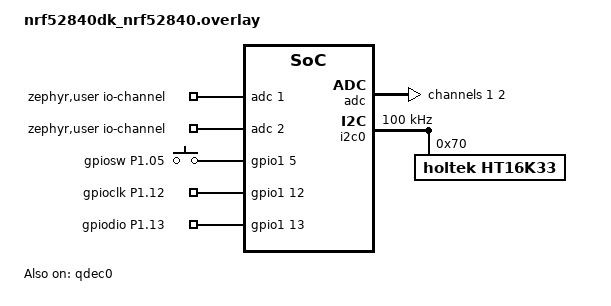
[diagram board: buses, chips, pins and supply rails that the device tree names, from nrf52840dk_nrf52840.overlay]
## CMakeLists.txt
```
cmake_minimum_required(VERSION 3.20.0)
find_package(Zephyr REQUIRED HINTS $ENV{ZEPHYR_BASE})

project(joystick_example)

target_sources(app PRIVATE src/main.c src/led.c)

FILE(GLOB app_sources src/*.c)
target_sources(app PRIVATE ${app_sources})
```

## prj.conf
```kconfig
CONFIG_ADC=y
# CONFIG_ADC_ASYNC=y

CONFIG_LOG=y
CONFIG_I2C=y
CONFIG_LED=y
CONFIG_KSCAN=y
CONFIG_KSCAN_INIT_PRIORITY=95
CONFIG_HT16K33_KEYSCAN=y



CONFIG_SENSOR=y
CONFIG_PRINTK=y

CONFIG_GPIO=y
```

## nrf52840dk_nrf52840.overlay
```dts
/ {
    zephyr,user {
        io-channels = <&adc 1>, <&adc 2>;
    };

    aliases {
        qdec0 = &qdec0;
        gpio-sw = &gpiosw;
        gpio-clk = &gpioclk;
		gpio-dio = &gpiodio;
    };

    gpiocustom {
        status = "okay";
        compatible = "gpio-keys";
        gpiosw: gpiosw {
            gpios = <&gpio1 5 (GPIO_PULL_UP)>;
            label = "gpiosw P1.05";
        };

        gpioclk: gpioclk{
			gpios = <&gpio1 12 GPIO_ACTIVE_HIGH>;
			label = "gpioclk P1.12";
		};

		gpiodio: gpiodio{
			gpios = <&gpio1 13 GPIO_ACTIVE_HIGH>;
			label = "gpiodio P1.13";
		};
    };
};

&adc {
    #address-cells = <1>;
    #size-cells = <0>;

    channel@1 {
        reg = <1>;
        zephyr,gain = "ADC_GAIN_1";
        zephyr,reference = "ADC_REF_INTERNAL";
        zephyr,acquisition-time = <ADC_ACQ_TIME_DEFAULT>;
        zephyr,input-positive = <NRF_SAADC_AIN1>; /* P0.03 */
        zephyr,resolution = <10>;
        // zephyr,differential;
    };

    channel@2 {
        reg = <2>;
        zephyr,gain = "ADC_GAIN_1";
        zephyr,reference = "ADC_REF_INTERNAL";
        zephyr,acquisition-time = <ADC_ACQ_TIME_DEFAULT>;
        zephyr,input-positive = <NRF_SAADC_AIN2>; /* P0.04 */
        zephyr,resolution = <10>;
        // zephyr,differential;
    };
};

&pinctrl {
    qdec_pinctrl: qdec_pinctrl {
        group1 {
            psels = <NRF_PSEL(QDEC_A, 1, 4)>,   /* Arduino D3 */
                    <NRF_PSEL(QDEC_B, 1, 3)>;   /* Arduino D2 */
        };
    };
};

&qdec0 {
    status = "okay";
    pinctrl-0 = <&qdec_pinctrl>;
    pinctrl-names = "default";
    steps = <20>;
    led-pre = <500>;
};

&i2c0 {
    clock-frequency = <I2C_BITRATE_STANDARD>;

    ht16k33@70 {
        compatible = "holtek,ht16k33";
        reg = <0x70>;
        /* Uncomment to use IRQ instead of polling: */
        /* irq-gpios = <&gpio1 8 (GPIO_PULL_UP | GPIO_ACTIVE_LOW)>; */

        keyscan {
            compatible = "holtek,ht16k33-keyscan";
        };
    };
};

&spi3 {
	status = "disabled";
};
```

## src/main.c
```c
#include <inttypes.h>
#include <stddef.h>
#include <stdint.h>
#include <stdlib.h>
#include <stdbool.h>

#include <zephyr/device.h>
#include <zephyr/devicetree.h>
#include <zephyr/drivers/adc.h>
#include <zephyr/kernel.h>
#include <zephyr/sys/printk.h>
#include <zephyr/sys/util.h>

#include <zephyr/drivers/sensor.h>
#include <zephyr/drivers/gpio.h>

#include "led.h"
#include "batterydisplay.h"
#include "value.h"

#if !DT_NODE_EXISTS(DT_PATH(zephyr_user)) || \
   !DT_NODE_HAS_PROP(DT_PATH(zephyr_user), io_channels)
#error "No suitable devicetree overlay specified"
#endif

#define DT_SPEC_AND_COMMA(node_id, prop, idx) \
   ADC_DT_SPEC_GET_BY_IDX(node_id, idx),

/* Data of ADC io-channels specified in devicetree. */
static const struct adc_dt_spec adc_channels[] = {
   DT_FOREACH_PROP_ELEM(DT_PATH(zephyr_user), io_channels,
            DT_SPEC_AND_COMMA)
};


// add for joystick
int32_t preX = 0 , preY = 0;
static const int ADC_MAX = 1023;
// static const int ADC_MIN = 0;
static const int AXIS_DEVIATION = ADC_MAX / 2;
int32_t nowX = 0;
int32_t nowY = 0;

int start_index = 0;
int current_led_index = 0;
int cat_led_index = 55;
int previous_cat_led_index = 0;
int battery_level = 7;
int n = 10;
int *walls = NULL;
int walls_count = 0;


//rotary
#if !DT_NODE_EXISTS(DT_ALIAS(qdec0))
#error "Unsupported board: qdec0 devicetree alias is not defined"
#endif

#define SW_NODE DT_NODELABEL(gpiosw)
#if !DT_NODE_HAS_STATUS(SW_NODE, okay)
#error "Unsupported board: gpiosw devicetree alias is not defined or enabled"
#endif
static const struct gpio_dt_spec sw = GPIO_DT_SPEC_GET(SW_NODE, gpios);

static bool sw_led_flag = false;

static struct gpio_callback sw_cb_data;

void sw_callback(const struct device *dev, struct gpio_callback *cb, uint32_t pins)
{
   printk("SW pressed\n");
   sw_led_flag = !sw_led_flag;
}

// cat의 위치를 무작위로 초기화
void init_cat_position() {
    srand(k_uptime_get_32()); // 랜덤 시드 초기화
    int range = rand() % 2; // 0 또는 1의 무작위 수 생성

    if (range == 0) {
        cat_led_index = 52 + (rand() % 8); // 52~59 범위에서 무작위 선택
    } else {
        cat_led_index = 68 + (rand() % 8); // 68~75 범위에서 무작위 선택
    }
}

// 게임 상태를 초기화
void reset_game_state() {
    // Reset all relevant variables to their initial values
    start_index = 0;

    current_led_index = 0;
    init_cat_position(); // cat의 위치 초기화
    walls_count = 0; // user가 세운 벽의 개수 초기화
    if (walls != NULL) {
        free(walls);
        walls = NULL;
    }
    
    battery_level--;
    if(battery_level <= 0) {
        led_display_game_over();
        battery_level = 7;
        return;
   }

   led_init(start_index);
   add_wall(cat_led_index);
}

// cat이 가장자리에 닿으면(탈출하면)
void check_game_over(int index)
{
    if (index >= 0 && index <= 15) {
        printk("Game Over\n");
        k_sleep(K_MSEC(500));
      reset_game_state();
    } else if (index == 16 || index == 31 || index == 32 || index == 47 ||
               index == 48 || index == 63 || index == 64 || index == 79 ||
            index == 80 || index == 95 || index == 96 || 
            index == 111 ||(index >= 112 && index <= 127)) {
        printk("Game Over\n");
        k_sleep(K_MSEC(500));
      reset_game_state();
    }
}

/*
void move_cat() {
   remove_wall(cat_led_index);

   srand(k_uptime_get_32());
   int move_direction = rand() % 4; // 0부터 3까지의 무작위 수 생성

   if (move_direction == 0) {
      cat_led_index = led_on_right(cat_led_index);
   } else if(move_direction == 1) {
      cat_led_index = led_on_left(cat_led_index);
   } else if(move_direction == 2) {
      cat_led_index = led_on_up(cat_led_index);
   } else {
      cat_led_index = led_on_down(cat_led_index);
   }
   
   add_wall(cat_led_index);
   check_game_over(cat_led_index);
}
*/


// 다익스트라 알고리즘에 필요한 정의들
#define NUM_NODES 128
#define INF INT_MAX

int edges[NUM_NODES][NUM_NODES];
int dist[NUM_NODES];
int prev[NUM_NODES];
bool visited[NUM_NODES];

void init_graph() {
    for (int i = 0; i < NUM_NODES; i++) {
        for (int j = 0; j < NUM_NODES; j++) {
            edges[i][j] = INF;
        }
    }

    for (int i = 0; i < 128; i++) {
        if ((i + 1) % 16 != 0) edges[i][i + 1] = 1; // 오른쪽으로 이동 가능
        if (i % 16 != 0) edges[i][i - 1] = 1; // 왼쪽으로 이동 가능
        if (i + 16 < 128) edges[i][i + 16] = 1; // 아래로 이동 가능
        if (i - 16 >= 0) edges[i][i - 16] = 1; // 위로 이동 가능
    }

    for (int i = 0; i < walls_count; i++) {
        for (int j = 0; j < 128; j++) {
            edges[walls[i]][j] = INF;
            edges[j][walls[i]] = INF;
        }
    }
}

void dijkstra(int start) {
    for (int i = 0; i < NUM_NODES; i++) {
        dist[i] = INF;
        prev[i] = -1;
        visited[i] = false;
    }
    dist[start] = 0;

    for (int i = 0; i < NUM_NODES; i++) {
        int min_dist = INF;
        int u = -1;
        for (int j = 0; j < NUM_NODES; j++) {
            if (!visited[j] && dist[j] < min_dist) {
                min_dist = dist[j];
                u = j;
            }
        }

        if (u == -1) break;

        visited[u] = true;

        for (int v = 0; v < NUM_NODES; v++) {
            if (!visited[v] && edges[u][v] != INF && dist[u] + edges[u][v] < dist[v]) {
                dist[v] = dist[u] + edges[u][v];
                prev[v] = u;
            }
        }
    }
}

int get_next_move(int start, int end) {
    dijkstra(start);
    int u = end;
    while (prev[u] != start && prev[u] != -1) {
        u = prev[u];
    }
    return u;
}

void move_cat() {
    previous_cat_led_index = cat_led_index; // 이전 위치 저장

    remove_wall(cat_led_index);

    init_graph();

    int nearest_edge_index = -1;
    int min_distance = INF;

    // 가장자리 인덱스들
    int edge_indices[] = {0, 1, 2, 3, 4, 5, 6, 7, 8, 9, 10, 11, 12, 13, 14, 15, 
                          16, 31, 32, 47, 48, 63, 64, 79, 80, 95, 96, 111, 
                          112, 113, 114, 115, 116, 117, 118, 119, 120, 121, 122, 123, 124, 125, 126, 127};

    dijkstra(cat_led_index);

    for (int i = 0; i < sizeof(edge_indices)/sizeof(edge_indices[0]); i++) {
        if (dist[edge_indices[i]] < min_distance) {
            min_distance = dist[edge_indices[i]];
            nearest_edge_index = edge_indices[i];
        }
    }

    if (nearest_edge_index != -1) {
        int next_move = get_next_move(cat_led_index, nearest_edge_index);
        // 벽이 있는 위치로 이동하지 않도록 확인
        bool is_wall = false;
        for (int i = 0; i < walls_count; i++) {
            if (walls[i] == next_move) {
                is_wall = true;
                break;
            }
        }

        if (!is_wall) {
            cat_led_index = next_move;
        }
    }

    add_wall(cat_led_index);

    if (cat_led_index == previous_cat_led_index) {
        game_clear();
    } else {
        check_game_over(cat_led_index);
    }
}



void game_clear() {
    printk("Game Clear!\n");
    led_display_game_clear();
    k_sleep(K_MSEC(2000));
    battery_level = 7;
    start_index = 0;
    current_led_index = 0;
    init_cat_position(); // cat의 위치 초기화
    walls_count = 0; // user가 세운 벽의 개수 초기화
    if (walls != NULL) {
        free(walls);
        walls = NULL;
    }
}

bool is_wall_at(int index, int *walls, int walls_count) {
    for (int i = 0; i < walls_count; i++) {
        if (walls[i] == index) {
            return true;
        }
    }
    return false;
}

void display_rotary_led(int32_t rotary_val)
{
	if (rotary_val >30) { //오른쪽으로 회전
		led_off_without_walls(walls, walls_count);
		add_wall(current_led_index);
		move_cat(); // Move the cat to the right
		//cat_led_index = led_on_right(cat_led_index);
	} else if (rotary_val < -20) { //왼쪽으로 회전
        int random_wall_indices[2];
        for (int i = 0; i < 2; i++) {
            bool unique;
            do {
                unique = true;
                random_wall_indices[i] = rand() % 128; // 0부터 127 사이의 무작위 위치 선택
                for (int j = 0; j < i; j++) {
                    if (random_wall_indices[i] == random_wall_indices[j] || 
                        is_wall_at(random_wall_indices[i], walls, walls_count) ||
                        random_wall_indices[i] == cat_led_index) {
                        unique = false;
                        break;
                    }
                }
            } while (!unique);

            add_wall(random_wall_indices[i]);
        }
	}
}


bool isChange(void)
{
	if((nowX < (preX - 50)) || nowX > (preX+50)){
		preX = nowX;
		return true;
	}

	if((nowY < (preY - 50)) || nowY > (preY+50)){
		preY = nowY;
		return true;
	}
	return false;
}

void add_wall(int index)
{
   if (walls == NULL)
   {
      walls = (int *)malloc(n * sizeof(int));
   }
   if (walls_count >= n)
   {
      n *= 2;
      walls = (int *)realloc(walls, n * sizeof(int));
   }
   printk("%d", walls_count);
   walls[walls_count++] = index;
   led_off_without_walls(walls, walls_count);
}

void remove_wall(int index)
{
    // 벽이 존재하는지 확인
    if (walls != NULL && walls_count > 0) {
        // 벽을 찾아서 제거
        for (int i = 0; i < walls_count; i++) {
            if (walls[i] == index) {
                // 벽을 찾았으면 해당 위치의 LED를 끔
                led_off(led, index);
                // 벽을 제거하고 배열을 재정렬
                for (int j = i; j < walls_count - 1; j++) {
                    walls[j] = walls[j + 1];
                }
                // 벽 카운트를 감소시킴
                walls_count--;
                break;
            }
        }
    }
}

void process_joystick_input()
{
    uint16_t buf;
    int err;
    struct adc_sequence sequence = {
        .buffer = &buf,
        /* buffer size in bytes, not number of samples */
        .buffer_size = sizeof(buf),
    };
    
    while(1) {
        (void)adc_sequence_init_dt(&adc_channels[0], &sequence);
        err = adc_read(adc_channels[0].dev, &sequence);
        if (err < 0) {
            printk("Could not read ADC channel 0 (%d)\n", err);
            return;
        }

        nowX = (int32_t)buf;

        (void)adc_sequence_init_dt(&adc_channels[1], &sequence);
        err = adc_read(adc_channels[1].dev, &sequence);
        if (err < 0) {
            printk("Could not read ADC channel 1 (%d)\n", err);
            return;
        }

        nowY = (int32_t)buf;

        printk("Joy X: %" PRIu32 ", Joy Y: %" PRIu32 "\n", nowX, nowY);

        if (nowX >= 65500 || nowY >= 65500){
            printk("Out of Range\n");
            // return;
        }

        bool checkFlag = isChange();
        if(!checkFlag){
            printk("No Change\n");
            return;
        } 

        if (nowX == ADC_MAX && nowY == ADC_MAX){
            printk("Center\n");
        } else if ((nowX < AXIS_DEVIATION || nowX >= 65500) && nowY == ADC_MAX){ // 조이스틱 왼쪽으로
            led_off_without_walls(walls, walls_count);
            current_led_index = led_on_left(current_led_index);
            printk("Left\n");
        } else if (nowX > AXIS_DEVIATION && nowY == ADC_MAX){ // 조이스틱 오른쪽으로
            led_off_without_walls(walls, walls_count);
            current_led_index = led_on_right(current_led_index);
            //add_wall(current_led_index);
            printk("Right\n");
        } else if ((nowY >= 65500 || nowY < AXIS_DEVIATION) && nowX == ADC_MAX){ // 조이스틱 아래로
            led_off_without_walls(walls, walls_count);
            current_led_index = led_on_down(current_led_index);
            printk("Down\n");
		} else if (nowY > AXIS_DEVIATION && nowX == ADC_MAX){ // 조이스틱 위로
            led_off_without_walls(walls, walls_count);
            current_led_index = led_on_up(current_led_index);
            printk("Up\n");
        }

        k_sleep(K_MSEC(100));
    }
}

int main(void)
{
   init_cat_position();
   //rotary
   struct sensor_value val;
   int rc;
   const struct device *const dev = DEVICE_DT_GET(DT_ALIAS(qdec0));

   if (!device_is_ready(dev)) {
      printk("Qdec device is not ready\n");
      return 0;
   }

   if(!gpio_is_ready_dt(&sw)) {
      printk("SW GPIO is not ready\n");
      return 0;
   }

   int err = gpio_pin_configure_dt(&sw, GPIO_INPUT);
   if(err < 0){
      printk("Error configuring SW GPIO pin %d\n", err);
      return 0;
   }

   err = gpio_pin_interrupt_configure_dt(&sw, GPIO_INT_EDGE_RISING);
   if(err != 0){
      printk("Error configuring SW GPIO interrupt %d\n", err);
      return 0;
   }

   err = batterydisplay_intit();
   if(err != 0){
         printk("Error initializing battery display\n");
         return DK_ERR;
   }

   gpio_init_callback(&sw_cb_data, sw_callback, BIT(sw.pin));
   gpio_add_callback(sw.port, &sw_cb_data);

   printk("Quadrature decoder sensor test\n");
   
   // ADC 채널 설정
   for (size_t i = 0U; i < ARRAY_SIZE(adc_channels); i++) {
      if (!adc_is_ready_dt(&adc_channels[i])) {
         printk("ADC controller device %s not ready\n", adc_channels[i].dev->name);
         return 0;
      }

      err = adc_channel_setup_dt(&adc_channels[i]);
      if (err < 0) {
         printk("Could not setup channel #%d (%d)\n", i, err);
         return 0;
      }
   }

   add_wall(cat_led_index);
   led_init(start_index);

   while (1) {
      display_level(battery_level);

      rc = sensor_sample_fetch(dev);
      if (rc != 0) {
         printk("Failed to fetch sample (%d)\n", rc);
         return 0;
      }

      rc = sensor_channel_get(dev, SENSOR_CHAN_ROTATION, &val);
      if (rc != 0) {
         printk("Failed to get data (%d)\n", rc);
         return 0;
      }
      
      if(!sw_led_flag){
         display_rotary_led(val.val1);
      } 

      printk("Position = %d degrees \n", val.val1);

      k_msleep(100);
      
      process_joystick_input();

      k_msleep(100);
   }
   free(walls);
   return 0;
}
```

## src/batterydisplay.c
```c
#include "batterydisplay.h"
#include "value.h"

static int8_t leveltab[9] = {0x00,0x40,0x60,0x70,0x78,0x7c,0x7e,0x7f};//Level 0~7
static uint8_t cmd_dispctrl = DISPLAY_BRIGHTEST + BRIGHTNESS_LEVEL1;
static int setlevel = 0;

// Function to initialize the battery display
int batterydisplay_intit(void)
{
    if (!gpio_is_ready_dt(&clk)) {
		printk("clk GPIO is not ready\n");
		return DK_ERR;
	}

	if(!gpio_is_ready_dt(&dio)) {
		printk("dio GPIO is not ready\n");
		return DK_ERR;
	}

    printk("batterydisplay_init success\n");

    return 0;
}

void set_brightness(int brightness)
{
    cmd_dispctrl = DISPLAY_BRIGHTEST + brightness;
}

void set_level(int level)
{
    setlevel = level;
}

void write_byte(int8_t wr_data)
{
    uint8_t data = wr_data;

    for(uint8_t i = 0; i < 8; i++){
        gpio_pin_configure_dt(&clk, GPIO_OUTPUT);
        bit_delay();

        if(data & 0x01)
            gpio_pin_configure_dt(&dio, GPIO_INPUT);
        else
            gpio_pin_configure_dt(&dio, GPIO_OUTPUT);

        bit_delay();

        gpio_pin_configure_dt(&clk, GPIO_INPUT);
        bit_delay();

        data >>= 1;
    }

    gpio_pin_configure_dt(&clk, GPIO_OUTPUT);
    gpio_pin_configure_dt(&dio, GPIO_INPUT);
    bit_delay();

    gpio_pin_configure_dt(&clk, GPIO_INPUT);
    bit_delay();
    uint8_t ack = gpio_pin_get_dt(&dio);
    if(ack == 0){
        gpio_pin_configure_dt(&dio, GPIO_OUTPUT);
    }

    bit_delay();
    gpio_pin_configure_dt(&clk, GPIO_OUTPUT);
    bit_delay();
}

void start(void)
{
    gpio_pin_configure_dt(&dio, GPIO_OUTPUT);
    bit_delay();
}

void stop(void)
{
    gpio_pin_configure_dt(&dio, GPIO_OUTPUT);
    bit_delay();

    gpio_pin_configure_dt(&clk, GPIO_INPUT);
    bit_delay();

    gpio_pin_configure_dt(&dio, GPIO_INPUT);
    bit_delay();
}

int display_level(uint8_t level)
{
    if(level > 7){
        printk("Invalid level\n");
        return DK_ERR;
    }

    if( setlevel == level){
        // printk("Same level\n");
        return DK_OK;
    }

    set_level(level);
    printk("display_level: %d\n", level);

    start();
    write_byte(ADDR_FIXED);
    stop();

    start();
    write_byte(ADDR_CMD_00H);
    write_byte(leveltab[level]);
    stop();

    start();
    write_byte(cmd_dispctrl);
    stop();

    printk("display_level success\n");

    return DK_OK;
}

void display_frame(bool framgeflag)
{
    int8_t segdata;
    if(framgeflag == FRAME_ON)
        segdata = 0x40;
    else
        segdata = 0x00;

    start();
    write_byte(ADDR_AUTO);
    stop();

    start();
    write_byte(ADDR_CMD_01H);
    for(uint8_t i = 0; i < 3; i++){
        write_byte(segdata);
    }
    stop();

    start();
    write_byte(cmd_dispctrl);
    stop();
}

void display_clear(void)
{
    display_level(0);
    display_frame(FRAME_OFF);
}

void bit_delay(void)
{
    k_sleep(K_TICKS(1));
}
```

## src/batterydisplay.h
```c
#include <zephyr/devicetree.h>
#include <zephyr/kernel.h>
#include <zephyr/drivers/gpio.h>

#define CLK_NODE DT_NODELABEL(gpioclk)
#if !DT_NODE_HAS_STATUS(CLK_NODE, okay)
#error "Unsupported board: gpioclk devicetree alias is not defined or enabled"
#endif
static const struct gpio_dt_spec clk = GPIO_DT_SPEC_GET(CLK_NODE, gpios);

#define DIO_NODE DT_NODELABEL(gpiodio)
#if !DT_NODE_HAS_STATUS(DIO_NODE, okay)
#error "Unsupported board: gpiodio devicetree alias is not defined or enabled"
#endif
static const struct gpio_dt_spec dio = GPIO_DT_SPEC_GET(DIO_NODE, gpios);


#define ADDR_FIXED 0x44
#define ADDR_AUTO  0x40

#define ADDR_CMD_00H 0xc0
#define ADDR_CMD_01H 0xc1
#define ADDR_CMD_02H 0xc2
#define ADDR_CMD_03H 0xc3

#define FRAME_OFF false
#define FRAME_ON true

#define DISPLAY_BRIGHTEST 0x88

#define BRIGHTNESS_LEVEL0 0
#define BRIGHTNESS_LEVEL1 1
#define BRIGHTNESS_LEVEL2 2
#define BRIGHTNESS_LEVEL3 3
#define BRIGHTNESS_LEVEL4 4
#define BRIGHTNESS_LEVEL5 5
#define BRIGHTNESS_LEVEL6 6
#define BRIGHTNESS_LEVEL7 7


int batterydisplay_intit(void);
void set_brightness(int brightness);
void set_level(int level);
void write_byte(int8_t wr_data);

void start(void);
void stop(void);

int display_level(uint8_t level);
void display_frame(bool framgeflag);
void display_clear(void);

void bit_delay(void);
```

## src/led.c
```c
#include "led.h"

// int number_led_matrix_arr [MAX_LED_NUM];

int number_led_matrix_arr [MAX_LED_NUM] = {
    0,0,0,0,0,0,0,0,0,0,0,0,0,0,0,0,
    0,0,0,1,0,0,1,0,0,1,0,0,1,0,0,0,
    0,0,0,0,1,1,0,0,0,0,1,1,0,0,0,0,
    0,0,0,0,0,0,0,0,0,0,0,0,0,0,0,0,
    0,0,0,0,0,0,1,1,1,1,0,0,0,0,0,0,
    0,0,0,0,0,1,0,0,0,0,1,0,0,0,0,0,
    0,0,0,0,1,0,0,0,0,0,0,1,0,0,0,0,
    0,0,0,0,0,0,0,0,0,0,0,0,0,0,0,0
};

void led_display_game_over() {
    led_off_all();
    for (int i = 0; i < MAX_LED_NUM; i++) {
        if (number_led_matrix_arr[i] == 1) {
            led_on(led, i);
        } else {
            led_off(led, i);
        }
    }
}

int number_led_matrix_arr_clear [MAX_LED_NUM] = {
    0,0,0,0,0,0,0,0,0,0,0,0,0,0,0,0,
    0,0,0,1,1,0,0,0,0,0,0,1,1,0,0,0,
    0,0,1,0,0,1,0,0,0,0,1,0,0,1,0,0,
    0,0,0,0,0,0,0,0,0,0,0,0,0,0,0,0,
    0,0,0,0,0,0,0,0,0,0,0,0,0,0,0,0,
    0,0,1,0,0,0,0,0,0,0,0,0,0,1,0,0,
    0,0,0,1,0,0,0,0,0,0,0,0,1,0,0,0,
    0,0,0,0,1,1,1,1,1,1,1,1,0,0,0,0
};

void led_display_game_clear() {
    for (int i = 0; i < 3; i++) {
        led_off_all();
        k_sleep(K_MSEC(500));
        for (int i = 0; i < MAX_LED_NUM; i++) {
            if (number_led_matrix_arr_clear[i] == 1) {
                led_on(led, i);
            } else {
                led_off(led, i);
            }
        }
        k_sleep(K_MSEC(500));
    }
    
}


int led_init(int start_index)
{
    if(!device_is_ready(led)){
        printk("LED device %s is not ready\n", led->name);
    }
    led_off_all();
    led_on(led, start_index);

    return 0;
}

void led_off_without_walls(int *walls, int walls_count)
{
    for(int i = 0; i< MAX_LED_NUM; i++){
        led_off(led, i);
    }
    turn_on_walls(walls, walls_count);
}

void led_off_all()
{
    for(int i = 0; i< MAX_LED_NUM; i++){
        led_off(led, i);
    }
}

void turn_on_walls(int *walls, int walls_count)
{
    for (int i = 0; i < walls_count; i++)
    {
        led_on(led, walls[i]);
    }
}


int led_on_right(int current_led_index)
{
    if ((current_led_index-15) % 16 == 0) current_led_index -= 16;
    current_led_index += 1;
    
    led_on(led, current_led_index);
    

    k_sleep(K_MSEC(100));
    return current_led_index;
}


int led_on_left(int current_led_index)
{

    if (current_led_index % 16 == 0) current_led_index += 15;   
    current_led_index -= 1;
    
    led_on(led, current_led_index);

    k_sleep(K_MSEC(100));
    return current_led_index;
}


int led_on_up(int current_led_index)
{

    if (current_led_index <= 15) current_led_index += 128;
    current_led_index -= 16;

    led_on(led, current_led_index);

    k_sleep(K_MSEC(100));
    return current_led_index;
}


int led_on_down(int current_led_index)
{

    if (current_led_index >= 112) current_led_index -= 128;
   current_led_index += 16;

    led_on(led, current_led_index);

    k_sleep(K_MSEC(100));
    return current_led_index;

}



// * * * * * * * * * * * * * * * *  0 ~ 15
// * * * * * * * * * * * * * * * * 16 ~ 31
// * * * * * * * * * * * * * * * * 32 ~ 47
// x x x x x x x x * * * * * * * * 48 ~ 63 (48 ~ 55)
// * * * * * * * * x x x x x x x x 64 ~ 79 (72 ~ 79)
// * * * * * * * * * * * * * * * * 80 ~ 95
// * * * * * * * * * * * * * * * * 96 ~ 111
// * * * * * * * * * * * * * * * * 112 ~ 127 
```

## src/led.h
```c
#include <zephyr/drivers/led.h>
#include <zephyr/drivers/kscan.h>
#include <zephyr/devicetree.h>
#include <zephyr/kernel.h>

#define LED_NODE DT_COMPAT_GET_ANY_STATUS_OKAY(holtek_ht16k33)
#define KEY_NODE DT_CHILD(LED_NODE, keyscan)

#define MAX_LED_NUM 128

#define MAX_ROTARY_IDX 15 //rotary

static const struct device *const led = DEVICE_DT_GET(LED_NODE);

int led_init(int current_led_index);
void led_off_all(void);
void turn_on_walls(int *walls, int walls_count);
void led_off_without_walls(int *walls, int walls_count);

int led_on_right(int current_led_index);
int led_on_left(int current_led_index);
int led_on_up(int current_led_index);
int led_on_down(int current_led_index);

void led_display_game_over(void);
void led_display_game_clear(void);
```

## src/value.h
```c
#define DK_OK 0
#define DK_ERR -1
```
